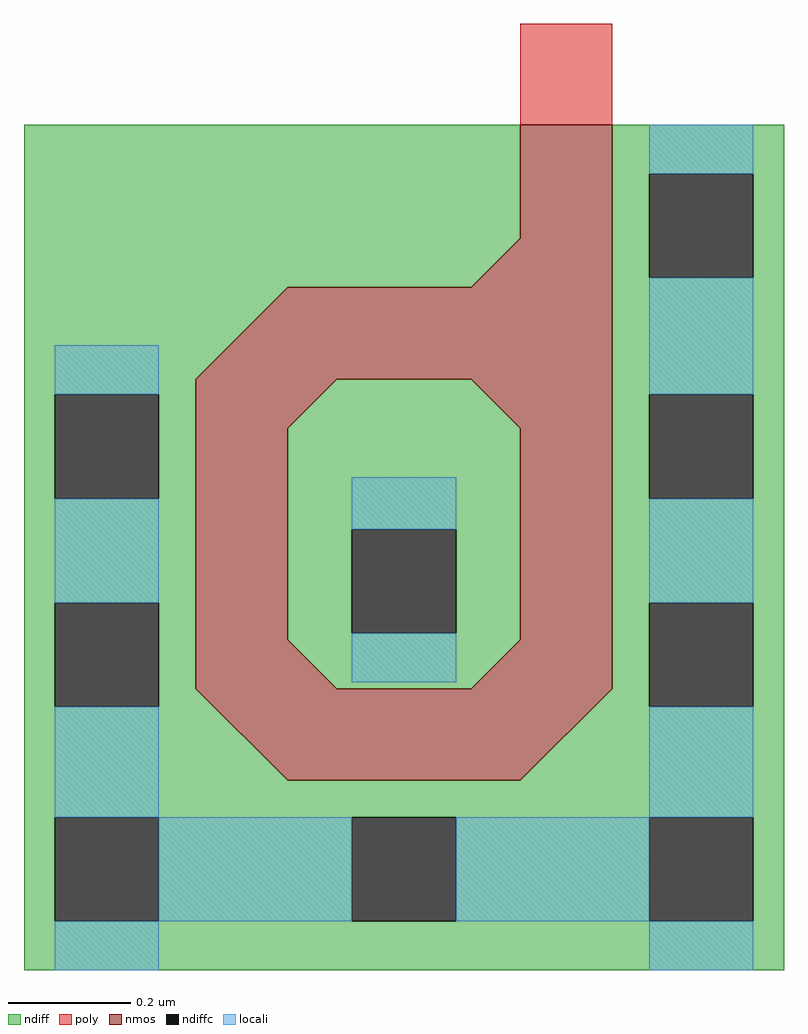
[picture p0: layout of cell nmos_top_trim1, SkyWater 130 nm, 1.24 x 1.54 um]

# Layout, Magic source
magic
tech sky130
magscale 1 2
<< nmos >>
tri 146 223 162 239 se
rect 162 223 192 276
tri 56 193 86 223 se
rect 86 193 192 223
rect 56 92 86 193
tri 86 177 102 193 nw
tri 146 177 162 193 ne
tri 86 92 102 108 sw
tri 146 92 162 108 se
rect 162 92 192 193
tri 56 62 86 92 ne
rect 86 62 162 92
tri 162 62 192 92 nw
<< ndiff >>
rect 0 239 162 276
rect 0 223 146 239
tri 146 223 162 239 nw
rect 192 260 248 276
rect 192 226 204 260
rect 238 226 248 260
rect 0 188 56 223
tri 56 193 86 223 nw
rect 0 154 10 188
rect 44 154 56 188
rect 0 120 56 154
rect 0 86 10 120
rect 44 86 56 120
tri 86 177 102 193 se
rect 102 177 146 193
tri 146 177 162 193 sw
rect 86 144 162 177
rect 86 110 107 144
rect 141 110 162 144
rect 86 108 162 110
tri 86 92 102 108 ne
rect 102 92 146 108
tri 146 92 162 108 nw
rect 192 188 248 226
rect 192 154 204 188
rect 238 154 248 188
rect 192 120 248 154
rect 0 62 56 86
tri 56 62 86 92 sw
tri 162 62 192 92 se
rect 192 86 204 120
rect 238 86 248 120
rect 192 62 248 86
rect 0 50 248 62
rect 0 16 10 50
rect 44 16 107 50
rect 141 16 204 50
rect 238 16 248 50
rect 0 0 248 16
<< ndiffc >>
rect 204 226 238 260
rect 10 154 44 188
rect 10 86 44 120
rect 107 110 141 144
rect 204 154 238 188
rect 204 86 238 120
rect 10 16 44 50
rect 107 16 141 50
rect 204 16 238 50
<< poly >>
rect 162 276 192 309
<< locali >>
rect 204 260 238 276
rect 10 188 44 204
rect 204 188 238 226
rect 10 120 44 154
rect 107 144 141 161
rect 107 94 141 110
rect 204 120 238 154
rect 10 50 44 86
rect 204 50 238 86
rect 44 16 107 50
rect 141 16 204 50
rect 10 0 44 16
rect 204 0 238 16
<< end >>
